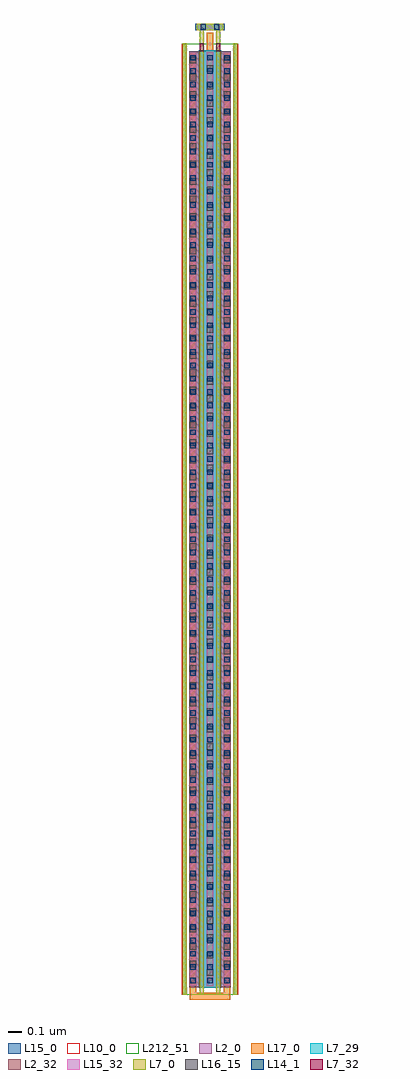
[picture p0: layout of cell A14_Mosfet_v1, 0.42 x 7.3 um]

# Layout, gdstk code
import gdstk
lib = gdstk.Library(unit=1e-6, precision=1e-09)
def R(c, l, rs):  # rectangles x0, y0, x1, y1
    for r in rs: c.add(gdstk.rectangle(r[:2], r[2:], *l))
def A(c, l, x, y, w, h, nx, ny, dx, dy):  # array of equal rectangles
    R(c, l, [(x+i*dx, y+j*dy, x+i*dx+w, y+j*dy+h) for i in range(nx) for j in range(ny)])
L2_0 = (2, 0)
L2_32 = (2, 32)
L7_0 = (7, 0)
L7_29 = (7, 29)
L7_32 = (7, 32)
L10_0 = (10, 0)
L14_1 = (14, 1)
L15_0 = (15, 0)
L15_32 = (15, 32)
L16_15 = (16, 15)
L17_0 = (17, 0)
L212_51 = (212, 51)

a14_mosfet_v1_srf_source = lib.new_cell('A14_Mosfet_v1:SRF_Source_ViaM1M2:SRF_ViaM1M2')
R(a14_mosfet_v1_srf_source, L15_0, [(0,-6.792,0.05,0.082)])
A(a14_mosfet_v1_srf_source, L16_15, 0, -6.76, 0.05, 0.05, 1, 53, 0, 0.13)
R(a14_mosfet_v1_srf_source, L17_0, [(0,-6.792,0.05,0.082)])

c_a14_mosfet_v1_srf_source = lib.new_cell('A14_Mosfet_v1:SRF_Source_ViaM1M2')
c_a14_mosfet_v1_srf_source.add(gdstk.Reference(a14_mosfet_v1_srf_source, (-0.025,3.355)))

a14_mosfet_v1_srf_drain_ = lib.new_cell('A14_Mosfet_v1:SRF_Drain_ViaM1M2:SRF_ViaM1M2')
R(a14_mosfet_v1_srf_drain_, L15_0, [(0,-6.792,0.05,0.082)])
A(a14_mosfet_v1_srf_drain_, L16_15, 0, -6.76, 0.05, 0.05, 1, 53, 0, 0.13)
R(a14_mosfet_v1_srf_drain_, L17_0, [(0,-6.792,0.05,0.082)])

c_a14_mosfet_v1_srf_drain_ = lib.new_cell('A14_Mosfet_v1:SRF_Drain_ViaM1M2')
c_a14_mosfet_v1_srf_drain_.add(gdstk.Reference(a14_mosfet_v1_srf_drain_, (-0.025,3.355)))

a14_mosfet_v1_srf_gate_v = lib.new_cell('A14_Mosfet_v1:SRF_Gate_ViaM0Mx:SRF_ViaM0M1')
R(a14_mosfet_v1_srf_gate_v, L7_0, [(-0.01,-0.004,0.15,0.044)])
R(a14_mosfet_v1_srf_gate_v, L14_1, [(0,0,0.04,0.04), (0.1,0,0.14,0.04)])
R(a14_mosfet_v1_srf_gate_v, L15_0, [(-0.021,-0.005,0.161,0.045)])

c_a14_mosfet_v1_srf_gate_v = lib.new_cell('A14_Mosfet_v1:SRF_Gate_ViaM0Mx')
c_a14_mosfet_v1_srf_gate_v.add(gdstk.Reference(a14_mosfet_v1_srf_gate_v, (-0.07,-0.02)))

a14_mosfet_v1 = lib.new_cell('A14_Mosfet_v1')
R(a14_mosfet_v1, L2_0, [(-0.076,0.057,0.232,7.057)])
R(a14_mosfet_v1, L2_32, [(-0.076,0.057,0,7.057), (0.156,0.057,0.232,7.057)])
A(a14_mosfet_v1, L7_0, -0.126, 0, 0.03, 7.114, 4, 1, 0.126, 0)
R(a14_mosfet_v1, L7_0, [(0,7.114,0.03,7.214), (0.126,7.114,0.156,7.214), (-0.022,7.214,0.178,7.262)])
R(a14_mosfet_v1, L7_29, [(-0.005,0.052,0.161,7.062)])
R(a14_mosfet_v1, L7_32, [(0,7.057,0.03,7.114), (0.126,7.057,0.156,7.114)])
R(a14_mosfet_v1, L10_0, [(-0.132,0.001,0.288,7.113)])
A(a14_mosfet_v1, L14_1, -0.068, 0.087, 0.04, 0.04, 3, 70, 0.126, 0.1)
R(a14_mosfet_v1, L15_0, [(-0.073,0.066,-0.023,7.048), (-0.073,0.066,-0.023,7.048), (0.053,0.066,0.103,7.048), (0.053,0.066,0.103,7.048), (0.179,0.066,0.229,7.048), (0.179,0.066,0.229,7.048), (-0.033,7.213,0.189,7.263)])
A(a14_mosfet_v1, L15_32, -0.073, 0.066, 0.05, 6.982, 3, 1, 0.126, 0)
R(a14_mosfet_v1, L17_0, [(-0.073,-0.035,0.229,0.015), (-0.073,0.015,-0.023,7.048), (0.179,0.015,0.229,7.048), (0.053,6.984,0.103,7.143), (0.053,7.143,0.103,7.193)])
R(a14_mosfet_v1, L212_51, [(-0.111,0.001,0.267,7.113)])
a14_mosfet_v1.add(gdstk.Reference(c_a14_mosfet_v1_srf_source, (-0.048,3.611)))
a14_mosfet_v1.add(gdstk.Reference(c_a14_mosfet_v1_srf_source, (0.204,3.611)))
a14_mosfet_v1.add(gdstk.Reference(c_a14_mosfet_v1_srf_drain_, (0.078,3.547)))
a14_mosfet_v1.add(gdstk.Reference(c_a14_mosfet_v1_srf_gate_v, (0.078,7.238)))

lib.write_gds('A14_Mosfet_v1.gds')
